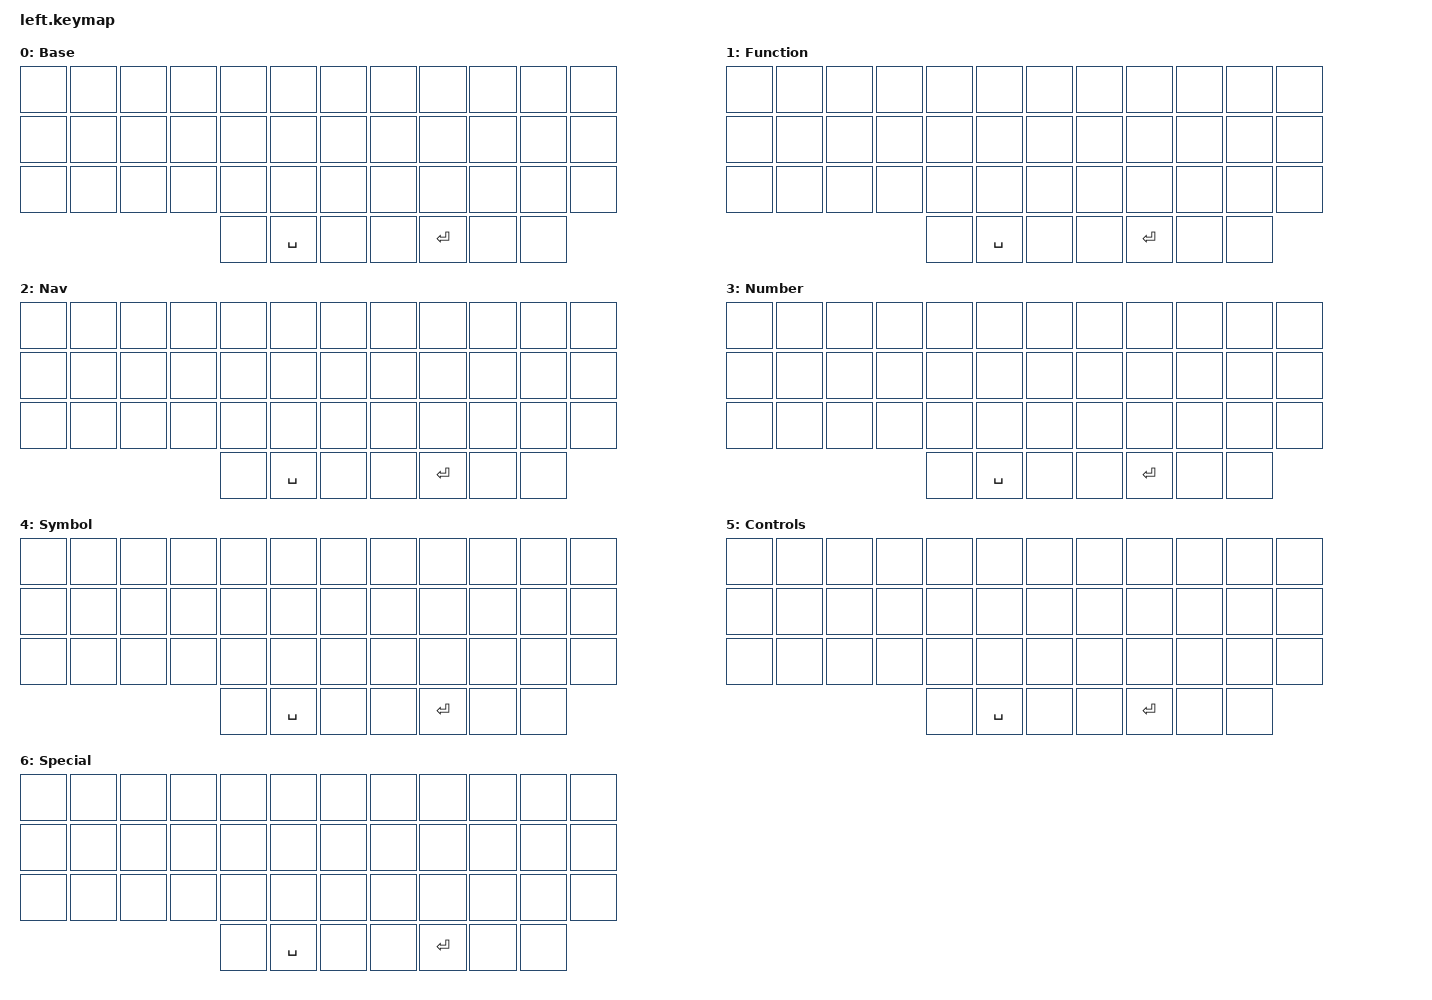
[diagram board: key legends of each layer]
#include <behaviors.dtsi>
#include <dt-bindings/zmk/keys.h>

/ {
    keymap {
        compatible = "zmk,keymap";

        Base {
            bindings = <
&none  &none  &none  &none  &none  &none      &none    &none  &none      &none  &none  &none
&none  &none  &none  &none  &none  &none      &none    &none  &none      &none  &none  &none
&none  &none  &none  &none  &none  &none      &none    &none  &none      &none  &none  &none
                            &none  &kp SPACE  &none    &none  &kp ENTER  &none  &none                                                 
            >;
        };

        Function {
            bindings = <
&none  &none  &none  &none  &none  &none      &none    &none  &none      &none  &none  &none
&none  &none  &none  &none  &none  &none      &none    &none  &none      &none  &none  &none
&none  &none  &none  &none  &none  &none      &none    &none  &none      &none  &none  &none
                            &none  &kp SPACE  &none    &none  &kp ENTER  &none  &none                                                 
            >;
        };

        Nav {
            bindings = <
&none  &none  &none  &none  &none  &none      &none    &none  &none      &none  &none  &none
&none  &none  &none  &none  &none  &none      &none    &none  &none      &none  &none  &none
&none  &none  &none  &none  &none  &none      &none    &none  &none      &none  &none  &none
                            &none  &kp SPACE  &none    &none  &kp ENTER  &none  &none                                                 
            >;
        };

        Number {
            bindings = <
&none  &none  &none  &none  &none  &none      &none    &none  &none      &none  &none  &none
&none  &none  &none  &none  &none  &none      &none    &none  &none      &none  &none  &none
&none  &none  &none  &none  &none  &none      &none    &none  &none      &none  &none  &none
                            &none  &kp SPACE  &none    &none  &kp ENTER  &none  &none                                                 
            >;
        };

        Symbol {
            bindings = <
&none  &none  &none  &none  &none  &none      &none    &none  &none      &none  &none  &none
&none  &none  &none  &none  &none  &none      &none    &none  &none      &none  &none  &none
&none  &none  &none  &none  &none  &none      &none    &none  &none      &none  &none  &none
                            &none  &kp SPACE  &none    &none  &kp ENTER  &none  &none                                                 
            >;
        };

        Controls {
            bindings = <
&none  &none  &none  &none  &none  &none      &none    &none  &none      &none  &none  &none
&none  &none  &none  &none  &none  &none      &none    &none  &none      &none  &none  &none
&none  &none  &none  &none  &none  &none      &none    &none  &none      &none  &none  &none
                            &none  &kp SPACE  &none    &none  &kp ENTER  &none  &none                                                 
            >;
        };

        Special {
            bindings = <
&none  &none  &none  &none  &none  &none      &none    &none  &none      &none  &none  &none
&none  &none  &none  &none  &none  &none      &none    &none  &none      &none  &none  &none
&none  &none  &none  &none  &none  &none      &none    &none  &none      &none  &none  &none
                            &none  &kp SPACE  &none    &none  &kp ENTER  &none  &none                                                 
            >;
        };

    };
};
